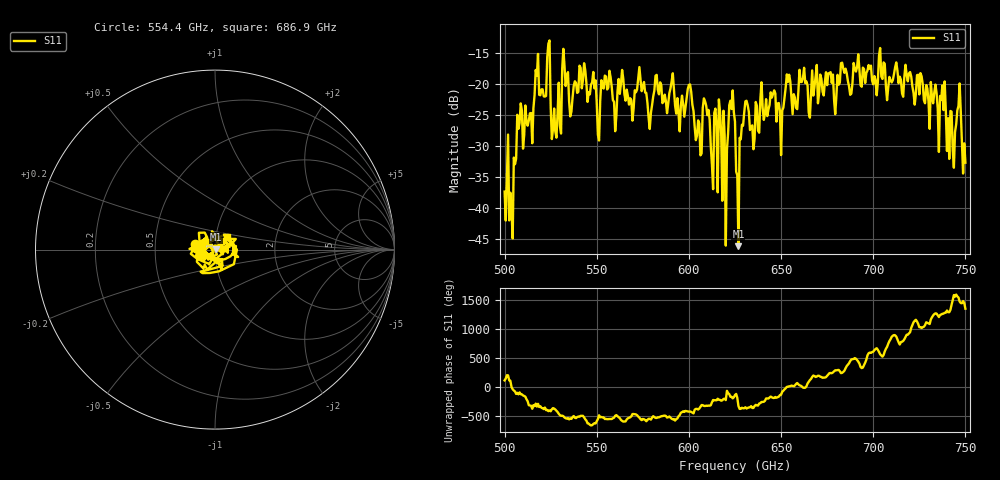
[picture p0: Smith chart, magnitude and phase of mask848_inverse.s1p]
!Created with skrf (http://scikit-rf.org).
# GHz S MA R 50.0
!freq magS11 angS11
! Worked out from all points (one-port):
!   401 points, 500 GHz to 750 GHz, reference 50 ohm
!   lowest |S11| = -46.1 dB at 626.9 GHz (marker M1), VSWR 1.01, Z = 50.4 + j0.234 ohm
!   |S11| at or under -10 dB: start of sweep to end of sweep
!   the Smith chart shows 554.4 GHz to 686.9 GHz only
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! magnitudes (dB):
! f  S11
! 500 GHz  -37.3
! 503.8 GHz  -40.4
! 508.1 GHz  -26.3
! 513.8 GHz  -24.7
! 517.5 GHz  -18.7
! 523.8 GHz  -13.5
! 526.9 GHz  -23.9
! 531.2 GHz  -17.5
! 541.9 GHz  -20.7
! 551.2 GHz  -29.1
! 562.5 GHz  -21.6
! 593.8 GHz  -22.3
! 600.6 GHz  -20.1
! 605.6 GHz  -26.4
! 609.4 GHz  -23.5
! 619.4 GHz  -28.3
! 623.1 GHz  -24.0
! 625 GHz  -26.0
! 626.9 GHz  -46.1
! 631.2 GHz  -22.7
! 634.4 GHz  -26.7
! 656.2 GHz  -24.9
! 687.5 GHz  -21.7
! 718.8 GHz  -19.6
! 737.5 GHz  -20.2
! 742.5 GHz  -24.5
! 746.2 GHz  -23.6
! 750 GHz  -32.7
